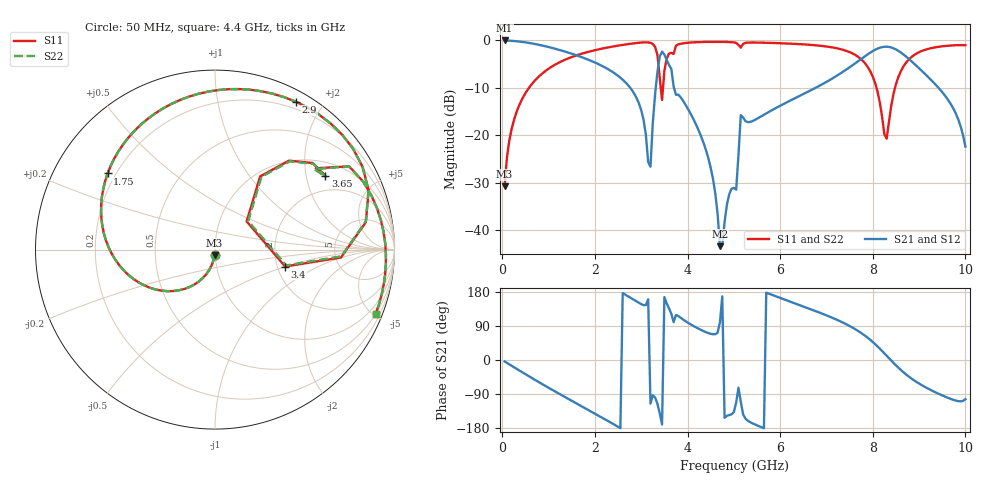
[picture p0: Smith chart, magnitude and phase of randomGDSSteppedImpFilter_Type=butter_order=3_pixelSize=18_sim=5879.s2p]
! freq	dB(S11)	phase(S11)	dB(S12)	phase(S12)
!  dB(S21)	phase(S21)	dB(S22)	phase(S22)
!S-par simulation data
#  GHz  S  DB  R 50
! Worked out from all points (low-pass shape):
!   200 points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, 50 MHz to 10 GHz, reference 50 ohm
!   highest |S21| = -0.01 dB at 50 MHz (marker M1); lowest = -43.3 dB at 4.7 GHz (marker M2)
!   |S21| within 3 dB of the highest: start of sweep to 1.566 GHz; 7.878 GHz to 8.669 GHz (791.3 MHz wide, 9.56 % of centre) (the widest 2 of 3)
!   lowest |S11| = -30.7 dB at 50 MHz (marker M3), VSWR 1.06, Z = 49.7 - j2.91 ohm
!   |S11| at or under -10 dB: start of sweep to 575 MHz; 3.423 GHz to 3.471 GHz (48.03 MHz wide, 1.39 % of centre); 8.08 GHz to 8.48 GHz (399.7 MHz wide, 4.83 % of centre)
!   |S22| runs from -30.7 to -0.3 dB; largest |S21 - S12| = 0
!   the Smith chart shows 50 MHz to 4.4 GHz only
!   S11 on the Smith chart (normalised r, x): 50 MHz: 0.99, -0.06; 1.75 GHz: 0.17, +0.31; 2.9 GHz: 0.12, +1.69; 3.4 GHz: 2.21, -0.50; 3.65 GHz: 1.42, +2.59; 4.4 GHz: 0.51, -5.15
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0.05  -30.67 -93.9  -0.01 -3.8  -0.01 -3.8  -30.67 -93.9
0.2  -18.71 -105.6  -0.08 -15.2  -0.08 -15.2  -18.71 -105.6
0.5  -11.09 -128.0  -0.41 -37.5  -0.41 -37.5  -11.09 -128.0
1.05  -5.63 -167.5  -1.52 -76.8  -1.52 -76.8  -5.63 -167.5
1.75  -2.69 144.7  -3.65 -124.5  -3.65 -124.5  -2.69 144.7
2.9  -0.55 61.2  -12.13 154.3  -12.13 154.3  -0.54 61.3
3.2  -0.51 29.3  -26.58 -115.0  -26.58 -115.0  -0.51 29.6
3.4  -7.91 -13.6  -3.40 -140.8  -3.40 -140.8  -7.81 -12.6
3.45  -12.53 41.7  -2.35 -170.2  -2.35 -170.2  -12.26 40.7
3.5  -6.39 58.3  -2.98 166.0  -2.98 166.0  -6.35 57.5
3.65  -2.62 33.8  -6.00 121.9  -6.00 121.9  -2.64 33.3
4.4  -0.32 -21.8  -23.16 73.4  -23.16 73.4  -0.32 -21.8
4.7  -0.31 -40.0  -43.31 100.1  -43.31 100.1  -0.31 -40.0
5.05  -0.52 -61.5  -31.41 -112.3  -31.41 -112.3  -0.51 -61.3
5.15  -1.52 -61.3  -15.74 -110.3  -15.74 -110.3  -1.44 -61.5
5.75  -0.51 -91.9  -15.08 175.3  -15.08 175.3  -0.51 -92.0
6.7  -0.97 -134.4  -10.32 132.2  -10.32 132.2  -0.97 -134.4
7.85  -5.03 160.9  -3.20 62.6  -3.20 62.6  -5.03 160.9
8.25  -19.74 167.5  -1.34 17.6  -1.34 17.6  -19.82 167.2
8.35  -17.10 -123.4  -1.37 4.7  -1.37 4.7  -17.14 -123.0
8.85  -3.38 -145.2  -4.51 -50.2  -4.51 -50.2  -3.38 -145.1
10  -1.00 141.8  -22.34 -103.5  -22.34 -103.5  -1.00 141.8
